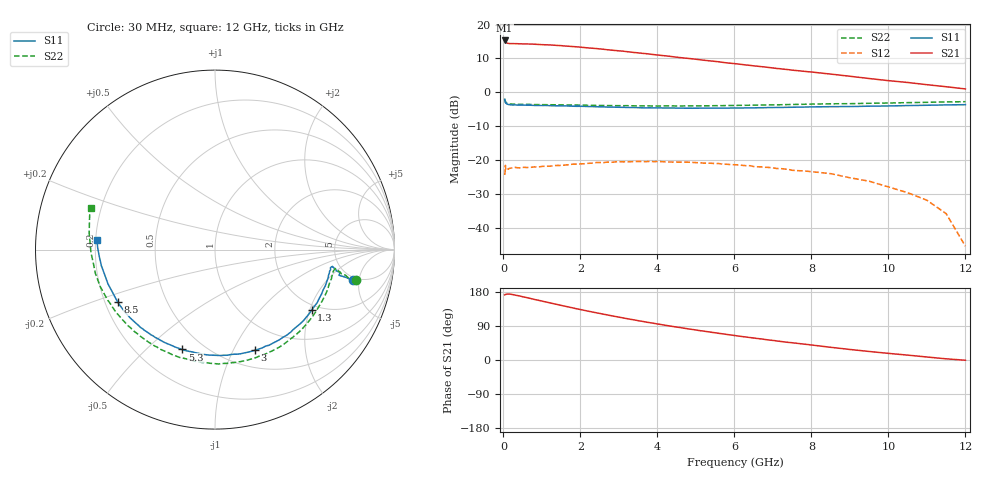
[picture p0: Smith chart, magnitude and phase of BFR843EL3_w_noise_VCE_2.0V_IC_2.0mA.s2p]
! Infineon Technologies  Discrete & RF Semiconductors
! BFR843EL3
! VCE =  2.0 V,  IC =  2.0 mA
! Common Emitter S-Parameters:  Aug 2013
# GHz  S  MA  R  50
!  f  S11  S21  S12  S22
! GHz  MAG  ANG  MAG  ANG  MAG  ANG  MAG  ANG
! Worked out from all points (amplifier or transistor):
!   103 points, 30 MHz to 12 GHz, reference 50 ohm
!   highest |S21| = 15.3 dB at 30 MHz (marker M1)
!   |S21| within 3 dB of that: start of sweep to 2.939 GHz
!   unconditionally stable (mu >= 1): 135.6 MHz to 490.7 MHz; 7.241 GHz to end of sweep
!   at 400 MHz: K = 1.01, MAG = 17.8 dB, |S12| = -22.2 dB
!   at 3.7 GHz: K = 0.74, MSG = 15.9 dB, |S12| = -20.4 dB
!   at 12 GHz: K = 21.74, MAG = 6.8 dB, |S12| = -45.4 dB
!   lowest NFmin = 1.16 dB at 900 MHz
!   S11 on the Smith chart (normalised r, x): 30 MHz: 4.57, -4.13; 1.3 GHz: 1.82, -2.06; 3 GHz: 0.69, -1.22; 5.3 GHz: 0.38, -0.65; 8.5 GHz: 0.25, -0.24; 12 GHz: 0.21, +0.04
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0.03  0.7874 -12.6  5.833 171.8  0.0607 38.1  0.8057 -12.2
0.04  0.7478 -12.0  5.646 172.2  0.065 30.0  0.7624 -12.1
0.05  0.7055 -11.7  5.567 173.2  0.0839 25.9  0.7411 -11.1
0.08  0.6826 -9.5  5.35 173.8  0.0736 16.3  0.6994 -9.9
0.2  0.6555 -8.4  5.246 173.4  0.0765 7.3  0.6742 -9.5
0.7  0.6467 -18.3  5.164 162.4  0.0783 3.3  0.664 -22.5
1.3  0.6352 -32.1  4.975 148.6  0.083 2.5  0.6571 -39.9
1.7  0.6291 -41.2  4.79 139.7  0.0858 0.9  0.6516 -51.2
2.1  0.6223 -50.0  4.585 131.0  0.0887 -0.2  0.6471 -61.9
2.6  0.6124 -60.4  4.325 120.8  0.0923 -3.1  0.6419 -74.3
3  0.6034 -68.4  4.098 113.1  0.0951 -6.7  0.6376 -83.6
3.5  0.5958 -78.0  3.83 103.8  0.0958 -10.1  0.6315 -94.5
4.1  0.5898 -88.5  3.51 93.5  0.0954 -14.8  0.6301 -106.3
4.7  0.585 -98.9  3.21 83.7  0.0938 -20.2  0.6319 -117.3
5.3  0.5857 -108.2  2.94 74.7  0.0905 -26.2  0.6349 -126.9
6.1  0.5893 -120.1  2.616 63.3  0.0852 -32.4  0.644 -138.9
7.2  0.6 -135.2  2.23 49.0  0.0754 -41.5  0.6573 -153.3
8.5  0.6159 -151.5  1.862 33.5  0.0634 -52.6  0.6792 -168.5
9.5  0.6262 -162.3  1.602 22.5  0.049 -61.7  0.691 -178.5
10.5  0.6393 -171.9  1.4 12.9  0.0332 -70.8  0.7065 172.8
11.5  0.6539 179.0  1.212 3.1  0.0163 -88.8  0.7238 164.8
12  0.6593 175.5  1.125 -0.6  0.0054 -108.9  0.7295 161.5
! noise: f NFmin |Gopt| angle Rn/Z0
0.45  1.17  0.35  5  0.32
0.9  1.16  0.34  17  0.3
1.5  1.18  0.35  28  0.27
1.9  1.2  0.35  33  0.26
2.4  1.23  0.36  42  0.25
3.5  1.3  0.35  65  0.22
5.5  1.47  0.37  100  0.18
8  1.7  0.43  142  0.11
10  1.88  0.46  196  0.08
